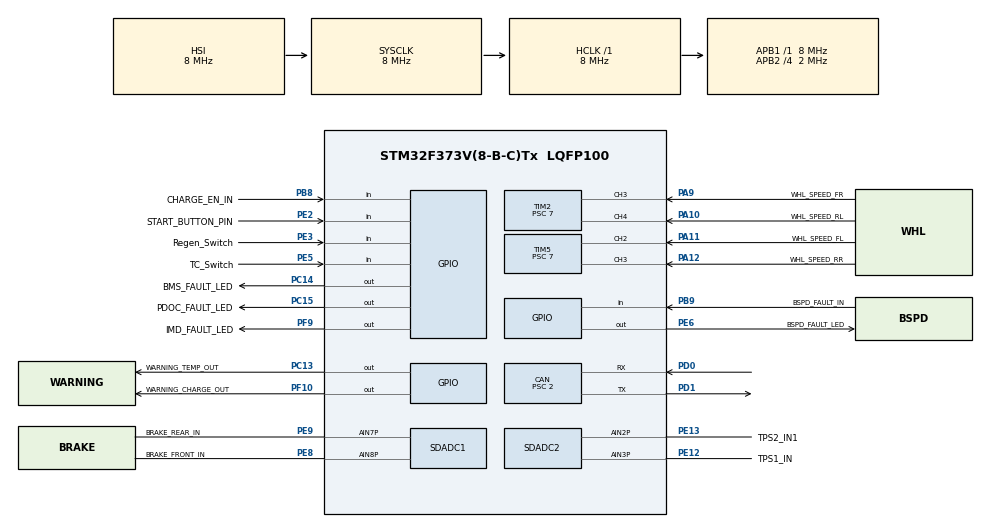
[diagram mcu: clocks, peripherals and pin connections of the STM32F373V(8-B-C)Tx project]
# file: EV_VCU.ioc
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CAN.BS1=CAN_BS1_2TQ
CAN.BS2=CAN_BS2_1TQ
CAN.CalculateBaudRate=1000000
CAN.CalculateTimeBit=1000
CAN.CalculateTimeQuantum=250.0
CAN.Prescaler=2
Mcu.Family=STM32F3
Mcu.Name=STM32F373V(8-B-C)Tx
Mcu.Package=LQFP100
NVIC.CAN_RX0_IRQn=true\:0\:0\:false\:false\:true\:true\:true\:true
NVIC.PriorityGroup=NVIC_PRIORITYGROUP_4
NVIC.TIM2_IRQn=true\:0\:0\:false\:false\:true\:true\:true\:true
NVIC.TIM3_IRQn=true\:0\:0\:false\:false\:true\:true\:true\:true
NVIC.TIM4_IRQn=true\:0\:0\:false\:false\:true\:true\:true\:true
NVIC.TIM5_IRQn=true\:0\:0\:false\:false\:true\:true\:true\:true
NVIC.TIM6_DAC1_IRQn=true\:0\:0\:false\:false\:true\:true\:true\:true
NVIC.TIM7_IRQn=true\:0\:0\:false\:false\:true\:true\:true\:true
PA10.GPIO_Label=WHL_SPEED_RL
PA10.Signal=S_TIM2_CH4
PA11.GPIO_Label=WHL_SPEED_FL
PA11.Signal=S_TIM5_CH2
PA12.GPIO_Label=WHL_SPEED_RR
PA12.Signal=S_TIM5_CH3
PA13.Mode=Trace_Asynchronous_SW
PA13.Signal=SYS_JTMS-SWDIO
PA14.Mode=Trace_Asynchronous_SW
PA14.Signal=SYS_JTCK-SWCLK
PA9.GPIO_Label=WHL_SPEED_FR
PA9.Signal=S_TIM2_CH3
PB3.Mode=Trace_Asynchronous_SW
PB3.Signal=SYS_JTDO-TRACESWO
PB8.GPIO_Label=CHARGE_EN_IN
PB8.Signal=GPIO_Input
PB9.GPIO_Label=BSPD_FAULT_IN
PB9.Signal=GPIO_Input
PC13.GPIO_Label=WARNING_TEMP_OUT
PC13.Signal=GPIO_Output
PC14-OSC32_IN.GPIO_Label=BMS_FAULT_LED
PC14-OSC32_IN.Signal=GPIO_Output
PC15-OSC32_OUT.GPIO_Label=PDOC_FAULT_LED
PC15-OSC32_OUT.Signal=GPIO_Output
PD0.GPIO_PuPd=GPIO_PULLUP
PD0.Mode=CAN_Activate
PD0.Signal=CAN_RX
PD1.Mode=CAN_Activate
PD1.Signal=CAN_TX
PE12.GPIO_Label=TPS1_IN
PE12.Mode=IN3-Single-Ended zero reference
PE12.Signal=SDADC2_AIN3P
PE13.GPIO_Label=TPS2_IN1
PE13.Mode=IN2-Single-Ended zero reference
PE13.Signal=SDADC2_AIN2P
PE2.GPIO_Label=START_BUTTON_PIN
PE2.Signal=GPIO_Input
PE3.GPIO_Label=Regen_Switch
PE3.Signal=GPIO_Input
PE5.GPIO_Label=TC_Switch 
PE5.Signal=GPIO_Input
PE6.GPIO_Label=BSPD_FAULT_LED
PE6.Signal=GPIO_Output
PE8.GPIO_Label=BRAKE_FRONT_IN
PE8.Mode=IN8-Single-Ended zero reference
PE8.Signal=SDADC1_AIN8P
PE9.GPIO_Label=BRAKE_REAR_IN
PE9.Mode=IN7-Single-Ended zero reference
PE9.Signal=SDADC1_AIN7P
PF0-OSC_IN.Mode=HSE-External-Oscillator
PF0-OSC_IN.Signal=RCC_OSC_IN
PF1-OSC_OUT.Mode=HSE-External-Oscillator
PF1-OSC_OUT.Signal=RCC_OSC_OUT
PF10.GPIO_Label=WARNING_CHARGE_OUT
PF10.Signal=GPIO_Output
PF9.GPIO_Label=IMD_FAULT_LED
PF9.Signal=GPIO_Output
ProjectManager.HeapSize=0x200
ProjectManager.StackSize=0x400
ProjectManager.TargetToolchain=STM32CubeIDE
RCC.AHBFreq_Value=8000000
RCC.APB1Freq_Value=8000000
RCC.APB1TimFreq_Value=8000000
RCC.APB2CLKDivider=RCC_HCLK_DIV4
RCC.APB2Freq_Value=2000000
RCC.APB2TimFreq_Value=4000000
RCC.CortexFreq_Value=8000000
RCC.HCLKFreq_Value=8000000
RCC.HSE_VALUE=32000000
RCC.HSI_VALUE=8000000
RCC.LSE_VALUE=32768
RCC.PLLMUL=RCC_PLL_MUL9
RCC.SDADCPresc=RCC_SDADCSYSCLK_DIV8
RCC.SYSCLKFreq_VALUE=8000000
RCC.USBFreq_Value=36000000
SDADC1.Channel-0\#ChannelRegularConversion=SDADC_CHANNEL_2
SDADC1.ConfIndex-0\#ChannelRegularConversion=SDADC_CONF_INDEX_0
SDADC1.EnableInjectedConversion=ENABLE
SDADC1.EnableRegularconversion=DISABLE
SDADC1.InjNumberOfConversion=2
SDADC1.InjectedChannel-10\#ChannelInjectedConversion=SDADC_CHANNEL_8
SDADC1.InjectedChannel-9\#ChannelInjectedConversion=SDADC_CHANNEL_7
SDADC1.InjectedChannelsSelection=SDADC_CHANNEL_7|SDADC_CHANNEL_8
SDADC1.InjectedConfIndex-10\#ChannelInjectedConversion=SDADC_CONF_INDEX_0
SDADC1.InjectedConfIndex-9\#ChannelInjectedConversion=SDADC_CONF_INDEX_0
SDADC1.InjectedContinuousMode=SDADC_CONTINUOUS_CONV_OFF
SDADC1.InjectedRank-10\#ChannelInjectedConversion=2
SDADC1.InjectedRank-9\#ChannelInjectedConversion=1
SDADC1.InputMode0=SDADC_INPUT_MODE_SE_ZERO_REFERENCE
SDADC1.NbrOfConversionFlag=1
SDADC1.Rank-0\#ChannelRegularConversion=1
SDADC2.EnableInjectedConversion=ENABLE
SDADC2.InjNumberOfConversion=2
SDADC2.InjectedChannel-6\#ChannelInjectedConversion=SDADC_CHANNEL_3
SDADC2.InjectedChannel-7\#ChannelInjectedConversion=SDADC_CHANNEL_2
SDADC2.InjectedChannelsSelection=SDADC_CHANNEL_3|SDADC_CHANNEL_2
SDADC2.InjectedConfIndex-6\#ChannelInjectedConversion=SDADC_CONF_INDEX_0
SDADC2.InjectedConfIndex-7\#ChannelInjectedConversion=SDADC_CONF_INDEX_0
SDADC2.InjectedContinuousMode=SDADC_CONTINUOUS_CONV_OFF
SDADC2.InjectedRank-6\#ChannelInjectedConversion=1
SDADC2.InjectedRank-7\#ChannelInjectedConversion=2
SDADC2.InputMode0=SDADC_INPUT_MODE_SE_ZERO_REFERENCE
SDADC2.NbrOfConversionFlag=1
SH.S_TIM2_CH3.0=TIM2_CH3,Input_Capture3_from_TI3
SH.S_TIM2_CH4.0=TIM2_CH4,Input_Capture4_from_TI4
SH.S_TIM5_CH2.0=TIM5_CH2,Input_Capture2_from_TI2
SH.S_TIM5_CH3.0=TIM5_CH3,Input_Capture3_from_TI3
TIM2.Channel-Input_Capture3_from_TI3=TIM_CHANNEL_3
TIM2.Channel-Input_Capture4_from_TI4=TIM_CHANNEL_4
TIM2.ICPolarity_CH3=TIM_INPUTCHANNELPOLARITY_RISING
TIM2.Period=9999999
TIM2.Prescaler=7
TIM2.TIM_MasterOutputTrigger=TIM_TRGO_UPDATE
TIM3.Period=4999
TIM3.Prescaler=7
TIM4.AutoReloadPreload=TIM_AUTORELOAD_PRELOAD_DISABLE
TIM4.Period=24999
TIM4.Prescaler=7
TIM5.AutoReloadPreload=TIM_AUTORELOAD_PRELOAD_DISABLE
TIM5.Channel-Input_Capture2_from_TI2=TIM_CHANNEL_2
TIM5.Channel-Input_Capture3_from_TI3=TIM_CHANNEL_3
TIM5.Period=9999999
TIM5.Prescaler=7
TIM5.TIM_MasterOutputTrigger=TIM_TRGO_UPDATE
TIM6.AutoReloadPreload=TIM_AUTORELOAD_PRELOAD_DISABLE
TIM6.Period=33332
TIM6.Prescaler=7
TIM7.Period=9999
TIM7.Prescaler=799
TIM7.TIM_MasterOutputTrigger=TIM_TRGO_RESET
VP_SDADC1_CONF0.Mode=ConfigZero
VP_SDADC2_CONF0.Mode=ConfigZero
VP_TIM2_VS_ClockSourceINT.Mode=Internal
VP_TIM3_VS_ClockSourceINT.Mode=Internal
VP_TIM4_VS_ClockSourceINT.Mode=Internal
VP_TIM5_VS_ClockSourceINT.Mode=Internal
VP_TIM6_VS_ClockSourceINT.Mode=Enable_Timer
VP_TIM7_VS_ClockSourceINT.Mode=Enable_Timer
board=custom

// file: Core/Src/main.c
/* USER CODE BEGIN Header */
	/**
	  ******************************************************************************
	  * @file           : main.c
	  * @brief          : Main program body
	  ******************************************************************************
	  * @attention
	  *
	  * Copyright (c) 2025 STMicroelectronics.
	  * All rights reserved.
	  *
	  * This software is licensed under terms that can be found in the LICENSE file
	  * in the root directory of this software component.
	  * If no LICENSE file comes with this software, it is provided AS-IS.
	  *
	  ******************************************************************************
	  */
/* USER CODE END Header */
#include "main.h"

/* USER CODE BEGIN Includes */
	#include <stdint.h>
	#include <stdio.h>
	#include <math.h>
	#include <stdlib.h>
	#include <VCU_State.h>
	#include <VCU_Canbus.h>
	#include <VCU_ADC.h>
	#include <VCU_Timer.h>

/* USER CODE END Includes */

CAN_HandleTypeDef hcan;

SDADC_HandleTypeDef hsdadc1;
SDADC_HandleTypeDef hsdadc2;

TIM_HandleTypeDef htim2;
TIM_HandleTypeDef htim3;
TIM_HandleTypeDef htim4;
TIM_HandleTypeDef htim5;
TIM_HandleTypeDef htim6;
TIM_HandleTypeDef htim7;

/* USER CODE BEGIN PV */
#warning global variables created to live debug
	CarState carState = IDLE;
	Throttle throttle = {0};
	Torque torque = {0};
	Brake brake = {0};
	Wss wss = {0};
	AppsBrakeErrors apps_brake_errors = {0};

	CanbusRxData rxData = {0};

	AdcHandler hadc = {
		&hsdadc1,
		&hsdadc2,
		0,0,0,0,0

	};

	volatile uint8_t regen_sw = 0;
	volatile uint8_t tc_sw = 0;
	volatile uint8_t start_btn = 0;
	volatile uint8_t charge_en = 0;

	TimerHandler htimer = {
		&htim2,
		&htim3,
		&htim4,
		&htim5,
		&htim6,
		&htim7,
		0,0,0,0
	  };

	PowerLimiter powerLimiter = {
    .target_kw = POWER_TARGET_KW,
    .kp = POWER_KP,
    .ki = POWER_KI
	};

/* USER CODE END PV */

void SystemClock_Config(void);
static void MX_GPIO_Init(void);
static void MX_CAN_Init(void);
static void MX_TIM2_Init(void);
static void MX_SDADC1_Init(void);
static void MX_SDADC2_Init(void);
static void MX_TIM4_Init(void);
static void MX_TIM5_Init(void);
static void MX_TIM6_Init(void);
static void MX_TIM3_Init(void);
static void MX_TIM7_Init(void);

/* USER CODE BEGIN 0 */

	// For printouts - enable printf to SWO (ST-Link V3)
	int _write(int file, char *ptr, int len)
	{
	  // Send data to SWO (Serial Wire Output) via ITM
	  for (int i = 0; i < len; i++) {
		ITM_SendChar(ptr[i]);
	  }
	  return len;
	}

	// for the swv trace
	void ITM_SendWord(uint8_t port, uint32_t value) {
		if ((ITM->TCR & ITM_TCR_ITMENA_Msk) && (ITM->TER & (1UL << port))) {
			while (ITM->PORT[port].u32 == 0);
			ITM->PORT[port].u32 = value;
		}
	}

/* USER CODE END 0 */

int main(void)
{

  /* USER CODE BEGIN 1 */
  carState = IDLE;

  /* USER CODE END 1 */

  /* MCU Configuration--------------------------------------------------------*/

  /* Reset of all peripherals, Initializes the Flash interface and the Systick. */
  HAL_Init();

  /* Configure the system clock */
  SystemClock_Config();

  /* USER CODE BEGIN SysInit */
	  canInit(&rxData);
	  adcInit(&hadc);
  /* USER CODE END SysInit */

  /* Initialize all configured peripherals */
  MX_GPIO_Init();
  MX_CAN_Init();
  MX_TIM2_Init();
  MX_SDADC1_Init();
  MX_SDADC2_Init();
  MX_TIM4_Init();
  MX_TIM5_Init();
  MX_TIM6_Init();
  MX_TIM3_Init();
  MX_TIM7_Init();
  /* USER CODE BEGIN 2 */
	  // Initialize SWO for debug output
	  // Enable TRCENA bit in Debug Exception and Monitor Control Register
	  CoreDebug->DEMCR |= CoreDebug_DEMCR_TRCENA_Msk;
	  // Enable stimulus port 0 in ITM Trace Enable Register
	  ITM->TER = 0x1;
	  // Configure ITM Control Register
	  ITM->TCR = 0x1000D;

	  // Sensors
	  /*Throttle throttle = {0};
	  Brake brake = {0};
	  Wss wss = {0};
	  AppsBrakeErrors apps_brake_errors = {0};*/

	  // CANBUS Receive Messages
	  //CanbusRxData rxData = {0};
	  // Init Canbus Messages
	  canInit(&rxData);

	  // ADC Config
	  /*AdcHandler hadc = {
		&hsdadc1,
		&hsdadc2,
		0,0,0,0,0,0
	  };*/

	  adcInit(&hadc);

	  // Timer Config
	  /*TimerHandler htimer = {
		&htim2,
		&htim3,
		&htim4,
		&htim5,
		&htim6,
		&htim7,
		0,0,0,0
	  };*/

	  timerInit(&htimer);
	  timerStart();

	  // Arbitrary delay
	  HAL_Delay(300);

	  for (int i = 0; i < 20; i++) {			//added to fix the brake range error on startup, lets 4 sample ADC filter settle before range check
		  readADC(&hadc);
		  HAL_Delay(5);
	  }
	  htimer.tim3_flag = 0;
	  htimer.tim4_flag = 0;
	  htimer.tim6_flag = 0;

	  printf("FINISHED INITIALISATION\n");
  /* USER CODE END 2 */

  /* Infinite loop */
  /* USER CODE BEGIN WHILE */

	  // Track Canbus Tx Messages (Used to Stagger Transmissions)
	  uint32_t critical_counter = 0;
	  const uint32_t total_critical = 2;
	  uint32_t non_critical_counter = 0;
	  const uint32_t total_non_critical = 3;

	  while (1)
	  {
    /* USER CODE END WHILE */

    /* USER CODE BEGIN 3 */
		switch (carState)
		{
		  case IDLE:
			updateFaultLEDs(&rxData.faults);

			if (rxData.pdm.precharged) {
			  carState = PRECHARGED;
			  printf("\tNext State: PRECHARGED\n");
			}
			break;

		  case PRECHARGED:
			if (checkFault(&rxData.faults)) {
				  carState = FAULT;
				  printf("\tNext State: FAULT\n");
			}
			updateFaultLEDs(&rxData.faults);

			// Poll Start Button
			if (start_btn && brake.avg > BRAKE_PRESSURE_START_THRESHOLD){
				sendStartSw(&hcan, NOT_CRITICAL);
			  // NextState = RTD
			  carState = RTD;
			  printf("\tNext State: RTD\n");
			}
			break;

		  case RTD:
			// Send Torque to MC
			if (checkFault(&rxData.faults)) {
				  carState = FAULT;
				  printf("\tNext State: FAULT\n");
			}
			break;

		  case FAULT:
			updateFaultLEDs(&rxData.faults);

			break;

		  default:
			  carState = FAULT;
			  break;
		}

		// Timed Operations

		/*
		 *
		 * ----- READ ADC -----
		 *
		 *  f=200Hz
		 */
		if (htimer.tim3_flag) {
			readADC(&hadc);

			updateFaultLEDs(&rxData.faults);
			updateWarningLEDs(&rxData.orion);

			htimer.tim3_flag = 0; // reset

			regen_sw = (HAL_GPIO_ReadPin(Regen_Switch_GPIO_Port, Regen_Switch_Pin) == GPIO_PIN_SET);
			tc_sw    = (HAL_GPIO_ReadPin(TC_Switch_GPIO_Port,    TC_Switch_Pin)    == GPIO_PIN_SET);
			charge_en = (HAL_GPIO_ReadPin(CHARGE_EN_IN_GPIO_Port, CHARGE_EN_IN_Pin) == GPIO_PIN_RESET);   // grounded = enabled
# warning added start button to live debug
			start_btn = (HAL_GPIO_ReadPin(START_BUTTON_PIN_GPIO_Port, START_BUTTON_PIN_Pin) == GPIO_PIN_SET);		}

		/*
		 *
		 * ----- CRITICAL MESSAGES -----
		 *
		 *  f=40Hz
		 *  Stagger message transmission so each message is 40Hz / 2 = 20Hz
		*/
		if (htimer.tim4_flag) {
			// Get Throttle Position from ADC Measurement

			// Update Brake and Throttle Values
			updateThrottlePosition(&hadc,&throttle);
			updateBrakePressure(&hadc,&brake);
			checkAppsBrakePlausibilityError(&apps_brake_errors, &throttle, &brake);

			// --- ALTERNATE MESSAGE TRANSMISSION TO AVOID MAILBOX OVERFLOW --- //

			// Send Throttle
			if(critical_counter % total_critical == 0) {

				OrionData battery_sample = {0};
				PM150_Data motor_sample = {0};

				uint32_t interrupt_state = __get_PRIMASK();
				__disable_irq();

				battery_sample.pack_current_a = rxData.orion.pack_current_a;
				battery_sample.pack_instant_voltage_v =rxData.orion.pack_instant_voltage_v;
				battery_sample.power_received_ms = rxData.orion.power_received_ms;
				battery_sample.power_sequence = rxData.orion.power_sequence;
				battery_sample.power_received = rxData.orion.power_received;
				motor_sample.mc_rpm = rxData.pm150.mc_rpm;

				__set_PRIMASK(interrupt_state);

				uint8_t drive_allowed = (carState == RTD) && !apps_brake_errors.appsBrakePlausibility && (brake.avg <= BRAKE_PRESSURE_APPS_THRESHOLD);

				updateTorque(&torque, &throttle, &motor_sample, &battery_sample, &powerLimiter, carState, drive_allowed, HAL_GetTick());

				sendTorqueCommand(&hcan, &torque, apps_brake_errors.appsBrakePlausibility, carState, CRITICAL);
				sendTorqueControlLog(&hcan, &torque, &powerLimiter, NOT_CRITICAL);
			}

			// Send Brake
			else if(critical_counter % total_critical == 1) {
				sendBrakePressure(&hcan, &brake, carState, CRITICAL);
			}

			critical_counter++;
			htimer.tim4_flag = 0; // reset
		}

		/*
		 * ----- NON-CRITICAL MESSAGES -----
		 *
		 *  f=30Hz
		 *  Stagger message transmission so each message is 30Hz / 3 = 10Hz
		 */
		if (htimer.tim6_flag) {

			// --- ALTERNATE MESSAGE TRANSMISSION TO AVOID MAILBOX OVERFLOW --- //

			if(non_critical_counter % total_non_critical == 0) {
				updateWSS(&wss);
				sendSensorData(&hcan, &wss, NOT_CRITICAL);
			}

			else if(non_critical_counter % total_non_critical == 1) {
				sendState(&hcan, &apps_brake_errors, carState, NOT_CRITICAL);
			}

			else if (non_critical_counter % total_non_critical == 2) {
				sendThrottlePosition(&hcan, &throttle, NOT_CRITICAL);
			}

			non_critical_counter++;
			htimer.tim6_flag = 0; // reset
		}

		// Non-Critical Messages - 1Hz
		if (htimer.tim7_flag) {

	//    	if (counter++ % 2 == 0) {
	//    		readADC_test(&hsdadc1, &hsdadc2);
	//    	}

	//    	void print_ADC(void);

			htimer.tim7_flag = 0;
		}

		//--- END CAN TEST ---///
	  }
  /* USER CODE END 3 */
}

void SystemClock_Config(void)
{
  RCC_OscInitTypeDef RCC_OscInitStruct = {0};
  RCC_ClkInitTypeDef RCC_ClkInitStruct = {0};
  RCC_PeriphCLKInitTypeDef PeriphClkInit = {0};

  /** Initializes the RCC Oscillators according to the specified parameters
  * in the RCC_OscInitTypeDef structure.
  */
  RCC_OscInitStruct.OscillatorType = RCC_OSCILLATORTYPE_HSI;
  RCC_OscInitStruct.HSIState = RCC_HSI_ON;
  RCC_OscInitStruct.HSICalibrationValue = RCC_HSICALIBRATION_DEFAULT;
  RCC_OscInitStruct.PLL.PLLState = RCC_PLL_NONE;
  if (HAL_RCC_OscConfig(&RCC_OscInitStruct) != HAL_OK)
  {
    Error_Handler();
  }

  /** Initializes the CPU, AHB and APB buses clocks
  */
  RCC_ClkInitStruct.ClockType = RCC_CLOCKTYPE_HCLK|RCC_CLOCKTYPE_SYSCLK
                              |RCC_CLOCKTYPE_PCLK1|RCC_CLOCKTYPE_PCLK2;
  RCC_ClkInitStruct.SYSCLKSource = RCC_SYSCLKSOURCE_HSI;
  RCC_ClkInitStruct.AHBCLKDivider = RCC_SYSCLK_DIV1;
  RCC_ClkInitStruct.APB1CLKDivider = RCC_HCLK_DIV1;
  RCC_ClkInitStruct.APB2CLKDivider = RCC_HCLK_DIV4;

  if (HAL_RCC_ClockConfig(&RCC_ClkInitStruct, FLASH_LATENCY_0) != HAL_OK)
  {
    Error_Handler();
  }
  PeriphClkInit.PeriphClockSelection = RCC_PERIPHCLK_SDADC;
  PeriphClkInit.SdadcClockSelection = RCC_SDADCSYSCLK_DIV8;
  if (HAL_RCCEx_PeriphCLKConfig(&PeriphClkInit) != HAL_OK)
  {
    Error_Handler();
  }
  HAL_PWREx_EnableSDADC(PWR_SDADC_ANALOG1);
  HAL_PWREx_EnableSDADC(PWR_SDADC_ANALOG2);
}

static void MX_CAN_Init(void)
{

  /* USER CODE BEGIN CAN_Init 0 */
	  printf("CAN INIT STARTTING\n");

  /* USER CODE END CAN_Init 0 */

  hcan.Instance = CAN;
  hcan.Init.Prescaler = 2;
  hcan.Init.Mode = CAN_MODE_NORMAL;
  hcan.Init.SyncJumpWidth = CAN_SJW_1TQ;
  hcan.Init.TimeSeg1 = CAN_BS1_2TQ;
  hcan.Init.TimeSeg2 = CAN_BS2_1TQ;
  hcan.Init.TimeTriggeredMode = DISABLE;
  hcan.Init.AutoBusOff = DISABLE;
  hcan.Init.AutoWakeUp = DISABLE;
  hcan.Init.AutoRetransmission = DISABLE;
  hcan.Init.ReceiveFifoLocked = DISABLE;
  hcan.Init.TransmitFifoPriority = DISABLE;
  if (HAL_CAN_Init(&hcan) != HAL_OK)
  {
    Error_Handler();
  }
  /* USER CODE BEGIN CAN_Init 2 */
	  // Configure the CAN filter
	//  CAN_FilterTypeDef sFilterConfig;
	//  uint32_t id1 = (CANID_PDM_0 << 21);
	//  uint32_t id2 = (CANID_PDM_2 << 21);
	//  sFilterConfig.FilterBank = 0;
	//  sFilterConfig.FilterMode = CAN_FILTERMODE_IDMASK;
	//  sFilterConfig.FilterScale = CAN_FILTERSCALE_32BIT;
	//  sFilterConfig.FilterIdHigh = (id1 >> 16);
	//  sFilterConfig.FilterIdLow = (id1 & 0xFFFF);
	//  sFilterConfig.FilterMaskIdHigh = (id2 >> 16);
	//  sFilterConfig.FilterMaskIdLow = (id2 & 0xFFFF);
	//  sFilterConfig.FilterFIFOAssignment = CAN_FILTER_FIFO0;
	//  sFilterConfig.FilterActivation = ENABLE;
	//  sFilterConfig.SlaveStartFilterBank = 0;
	//
	//  if (HAL_CAN_ConfigFilter(&hcan, &sFilterConfig) != HAL_OK) {
	//	  printf("HAL CAN CONFIG FILTER FAILED\n");
	//      Error_Handler();
	//  }

	  /* USER CODE BEGIN CAN_Init 2 */

	  // Whitelist only these 4 IDs (standard 11-bit)

	  uint16_t canIdList[CAN_ID_LIST_LENGTH] = {CAN_ID_LIST};
	  configFilters(&hcan, canIdList, CAN_ID_LIST_LENGTH);

	  // Start CAN and enable RX interrupt (as you already do)
	  if (HAL_CAN_Start(&hcan) != HAL_OK) {
		  printf("CAN START FAILED\n");
		  Error_Handler();
	  }
	  if (HAL_CAN_ActivateNotification(
			  &hcan,
			  CAN_IT_RX_FIFO0_MSG_PENDING      |
			  CAN_IT_ERROR_WARNING             |
			  CAN_IT_ERROR_PASSIVE             |
			  CAN_IT_BUSOFF                    |
			  CAN_IT_LAST_ERROR_CODE           |
			  CAN_IT_ERROR)                    != HAL_OK) {
		  printf("CAN ACTIVATE (error IRQs) FAILED\n");
		  Error_Handler();
	  }
  /* USER CODE END CAN_Init 2 */

}

static void MX_SDADC1_Init(void)
{

  SDADC_ConfParamTypeDef ConfParamStruct = {0};

  /** Configure the SDADC low power mode, fast conversion mode,
  slow clock mode and SDADC1 reference voltage
  */
  hsdadc1.Instance = SDADC1;
  hsdadc1.Init.IdleLowPowerMode = SDADC_LOWPOWER_NONE;
  hsdadc1.Init.FastConversionMode = SDADC_FAST_CONV_DISABLE;
  hsdadc1.Init.SlowClockMode = SDADC_SLOW_CLOCK_DISABLE;
  hsdadc1.Init.ReferenceVoltage = SDADC_VREF_EXT;
  hsdadc1.InjectedTrigger = SDADC_SOFTWARE_TRIGGER;
  if (HAL_SDADC_Init(&hsdadc1) != HAL_OK)
  {
    Error_Handler();
  }

  /** Configure the Injected Mode
  */
  if (HAL_SDADC_SelectInjectedDelay(&hsdadc1, SDADC_INJECTED_DELAY_NONE) != HAL_OK)
  {
    Error_Handler();
  }
  if (HAL_SDADC_SelectInjectedTrigger(&hsdadc1, SDADC_SOFTWARE_TRIGGER) != HAL_OK)
  {
    Error_Handler();
  }
  if (HAL_SDADC_InjectedConfigChannel(&hsdadc1, SDADC_CHANNEL_7|SDADC_CHANNEL_8, SDADC_CONTINUOUS_CONV_OFF) != HAL_OK)
  {
    Error_Handler();
  }

  /** Set parameters for SDADC configuration 0 Register
  */
  ConfParamStruct.InputMode = SDADC_INPUT_MODE_SE_ZERO_REFERENCE;
  ConfParamStruct.Gain = SDADC_GAIN_1;
  ConfParamStruct.CommonMode = SDADC_COMMON_MODE_VSSA;
  ConfParamStruct.Offset = 0;
  if (HAL_SDADC_PrepareChannelConfig(&hsdadc1, SDADC_CONF_INDEX_0, &ConfParamStruct) != HAL_OK)
  {
    Error_Handler();
  }

  /** Configure the Regular Channel
  */
  if (HAL_SDADC_AssociateChannelConfig(&hsdadc1, SDADC_CHANNEL_2, SDADC_CONF_INDEX_0) != HAL_OK)
  {
    Error_Handler();
  }

  /** Configure the Injected Channel
  */
  if (HAL_SDADC_AssociateChannelConfig(&hsdadc1, SDADC_CHANNEL_7, SDADC_CONF_INDEX_0) != HAL_OK)
  {
    Error_Handler();
  }

  /** Configure the Injected Channel
  */
  if (HAL_SDADC_AssociateChannelConfig(&hsdadc1, SDADC_CHANNEL_8, SDADC_CONF_INDEX_0) != HAL_OK)
  {
    Error_Handler();
  }
  /* USER CODE BEGIN SDADC1_Init 2 */
	  if (HAL_SDADC_CalibrationStart(&hsdadc1, SDADC_CALIBRATION_SEQ_1) != HAL_OK)
	  {
		/* An error occurs during the starting phase of the calibration */
		  Error_Handler();
	  }

	  /* Pool for the end of calibration */
	  if (HAL_SDADC_PollForCalibEvent(&hsdadc1, 1000) != HAL_OK)
	  {
		/* An error occurs while waiting for the end of the calibration */
		  Error_Handler();
	  }
  /* USER CODE END SDADC1_Init 2 */

}

static void MX_SDADC2_Init(void)
{

  SDADC_ConfParamTypeDef ConfParamStruct = {0};

  /** Configure the SDADC low power mode, fast conversion mode,
  slow clock mode and SDADC1 reference voltage
  */
  hsdadc2.Instance = SDADC2;
  hsdadc2.Init.IdleLowPowerMode = SDADC_LOWPOWER_NONE;
  hsdadc2.Init.FastConversionMode = SDADC_FAST_CONV_DISABLE;
  hsdadc2.Init.SlowClockMode = SDADC_SLOW_CLOCK_DISABLE;
  hsdadc2.Init.ReferenceVoltage = SDADC_VREF_EXT;
  hsdadc2.InjectedTrigger = SDADC_SOFTWARE_TRIGGER;
  if (HAL_SDADC_Init(&hsdadc2) != HAL_OK)
  {
    Error_Handler();
  }

  /** Configure the Injected Mode
  */
  if (HAL_SDADC_SelectInjectedDelay(&hsdadc2, SDADC_INJECTED_DELAY_NONE) != HAL_OK)
  {
    Error_Handler();
  }
  if (HAL_SDADC_SelectInjectedTrigger(&hsdadc2, SDADC_SOFTWARE_TRIGGER) != HAL_OK)
  {
    Error_Handler();
  }
  if (HAL_SDADC_InjectedConfigChannel(&hsdadc2, SDADC_CHANNEL_3|SDADC_CHANNEL_2, SDADC_CONTINUOUS_CONV_OFF) != HAL_OK)
  {
    Error_Handler();
  }

  /** Set parameters for SDADC configuration 0 Register
  */
  ConfParamStruct.InputMode = SDADC_INPUT_MODE_SE_ZERO_REFERENCE;
  ConfParamStruct.Gain = SDADC_GAIN_1;
  ConfParamStruct.CommonMode = SDADC_COMMON_MODE_VSSA;
  ConfParamStruct.Offset = 0;
  if (HAL_SDADC_PrepareChannelConfig(&hsdadc2, SDADC_CONF_INDEX_0, &ConfParamStruct) != HAL_OK)
  {
    Error_Handler();
  }

  /** Configure the Injected Channel
  */
  if (HAL_SDADC_AssociateChannelConfig(&hsdadc2, SDADC_CHANNEL_3, SDADC_CONF_INDEX_0) != HAL_OK)
  {
    Error_Handler();
  }

  /** Configure the Injected Channel
  */
  if (HAL_SDADC_AssociateChannelConfig(&hsdadc2, SDADC_CHANNEL_2, SDADC_CONF_INDEX_0) != HAL_OK)
  {
    Error_Handler();
  }
  /* USER CODE BEGIN SDADC2_Init 2 */
	  if (HAL_SDADC_CalibrationStart(&hsdadc2, SDADC_CALIBRATION_SEQ_1) != HAL_OK)
	  {
		/* An error occurs during the starting phase of the calibration */
		  Error_Handler();
	  }

	  /* Pool for the end of calibration */
	  if (HAL_SDADC_PollForCalibEvent(&hsdadc2, 1000) != HAL_OK)
	  {
		/* An error occurs while waiting for the end of the calibration */
		  Error_Handler();
	  }
  /* USER CODE END SDADC2_Init 2 */

}

static void MX_TIM2_Init(void)
{

  TIM_ClockConfigTypeDef sClockSourceConfig = {0};
  TIM_MasterConfigTypeDef sMasterConfig = {0};
  TIM_IC_InitTypeDef sConfigIC = {0};

  htim2.Instance = TIM2;
  htim2.Init.Prescaler = 7;
  htim2.Init.CounterMode = TIM_COUNTERMODE_UP;
  htim2.Init.Period = 9999999;
  htim2.Init.ClockDivision = TIM_CLOCKDIVISION_DIV1;
  htim2.Init.AutoReloadPreload = TIM_AUTORELOAD_PRELOAD_DISABLE;
  if (HAL_TIM_Base_Init(&htim2) != HAL_OK)
  {
    Error_Handler();
  }
  sClockSourceConfig.ClockSource = TIM_CLOCKSOURCE_INTERNAL;
  if (HAL_TIM_ConfigClockSource(&htim2, &sClockSourceConfig) != HAL_OK)
  {
    Error_Handler();
  }
  if (HAL_TIM_IC_Init(&htim2) != HAL_OK)
  {
    Error_Handler();
  }
  sMasterConfig.MasterOutputTrigger = TIM_TRGO_UPDATE;
  sMasterConfig.MasterSlaveMode = TIM_MASTERSLAVEMODE_DISABLE;
  if (HAL_TIMEx_MasterConfigSynchronization(&htim2, &sMasterConfig) != HAL_OK)
  {
    Error_Handler();
  }
  sConfigIC.ICPolarity = TIM_INPUTCHANNELPOLARITY_RISING;
  sConfigIC.ICSelection = TIM_ICSELECTION_DIRECTTI;
  sConfigIC.ICPrescaler = TIM_ICPSC_DIV1;
  sConfigIC.ICFilter = 0;
  if (HAL_TIM_IC_ConfigChannel(&htim2, &sConfigIC, TIM_CHANNEL_3) != HAL_OK)
  {
    Error_Handler();
  }
  if (HAL_TIM_IC_ConfigChannel(&htim2, &sConfigIC, TIM_CHANNEL_4) != HAL_OK)
  {
    Error_Handler();
  }

}

static void MX_TIM3_Init(void)
{

  TIM_ClockConfigTypeDef sClockSourceConfig = {0};
  TIM_MasterConfigTypeDef sMasterConfig = {0};

  htim3.Instance = TIM3;
  htim3.Init.Prescaler = 7;
  htim3.Init.CounterMode = TIM_COUNTERMODE_UP;
  htim3.Init.Period = 4999;
  htim3.Init.ClockDivision = TIM_CLOCKDIVISION_DIV1;
  htim3.Init.AutoReloadPreload = TIM_AUTORELOAD_PRELOAD_DISABLE;
  if (HAL_TIM_Base_Init(&htim3) != HAL_OK)
  {
    Error_Handler();
  }
  sClockSourceConfig.ClockSource = TIM_CLOCKSOURCE_INTERNAL;
  if (HAL_TIM_ConfigClockSource(&htim3, &sClockSourceConfig) != HAL_OK)
  {
    Error_Handler();
  }
  sMasterConfig.MasterOutputTrigger = TIM_TRGO_RESET;
  sMasterConfig.MasterSlaveMode = TIM_MASTERSLAVEMODE_DISABLE;
  if (HAL_TIMEx_MasterConfigSynchronization(&htim3, &sMasterConfig) != HAL_OK)
  {
    Error_Handler();
  }

}

static void MX_TIM4_Init(void)
{

  TIM_ClockConfigTypeDef sClockSourceConfig = {0};
  TIM_MasterConfigTypeDef sMasterConfig = {0};

  htim4.Instance = TIM4;
  htim4.Init.Prescaler = 7;
  htim4.Init.CounterMode = TIM_COUNTERMODE_UP;
  htim4.Init.Period = 24999;
  htim4.Init.ClockDivision = TIM_CLOCKDIVISION_DIV1;
  htim4.Init.AutoReloadPreload = TIM_AUTORELOAD_PRELOAD_DISABLE;
  if (HAL_TIM_Base_Init(&htim4) != HAL_OK)
  {
    Error_Handler();
  }
  sClockSourceConfig.ClockSource = TIM_CLOCKSOURCE_INTERNAL;
  if (HAL_TIM_ConfigClockSource(&htim4, &sClockSourceConfig) != HAL_OK)
  {
    Error_Handler();
  }
  sMasterConfig.MasterOutputTrigger = TIM_TRGO_RESET;
  sMasterConfig.MasterSlaveMode = TIM_MASTERSLAVEMODE_DISABLE;
  if (HAL_TIMEx_MasterConfigSynchronization(&htim4, &sMasterConfig) != HAL_OK)
  {
    Error_Handler();
  }

}

static void MX_TIM5_Init(void)
{

  TIM_ClockConfigTypeDef sClockSourceConfig = {0};
  TIM_MasterConfigTypeDef sMasterConfig = {0};
  TIM_IC_InitTypeDef sConfigIC = {0};

  htim5.Instance = TIM5;
  htim5.Init.Prescaler = 7;
  htim5.Init.CounterMode = TIM_COUNTERMODE_UP;
  htim5.Init.Period = 9999999;
  htim5.Init.ClockDivision = TIM_CLOCKDIVISION_DIV1;
  htim5.Init.AutoReloadPreload = TIM_AUTORELOAD_PRELOAD_DISABLE;
  if (HAL_TIM_Base_Init(&htim5) != HAL_OK)
  {
    Error_Handler();
  }
  sClockSourceConfig.ClockSource = TIM_CLOCKSOURCE_INTERNAL;
  if (HAL_TIM_ConfigClockSource(&htim5, &sClockSourceConfig) != HAL_OK)
  {
    Error_Handler();
  }
  if (HAL_TIM_IC_Init(&htim5) != HAL_OK)
  {
    Error_Handler();
  }
  sMasterConfig.MasterOutputTrigger = TIM_TRGO_UPDATE;
  sMasterConfig.MasterSlaveMode = TIM_MASTERSLAVEMODE_DISABLE;
  if (HAL_TIMEx_MasterConfigSynchronization(&htim5, &sMasterConfig) != HAL_OK)
  {
    Error_Handler();
  }
  sConfigIC.ICPolarity = TIM_INPUTCHANNELPOLARITY_RISING;
  sConfigIC.ICSelection = TIM_ICSELECTION_DIRECTTI;
  sConfigIC.ICPrescaler = TIM_ICPSC_DIV1;
  sConfigIC.ICFilter = 0;
  if (HAL_TIM_IC_ConfigChannel(&htim5, &sConfigIC, TIM_CHANNEL_2) != HAL_OK)
  {
    Error_Handler();
  }
  if (HAL_TIM_IC_ConfigChannel(&htim5, &sConfigIC, TIM_CHANNEL_3) != HAL_OK)
  {
    Error_Handler();
  }

}

static void MX_TIM6_Init(void)
{

  TIM_MasterConfigTypeDef sMasterConfig = {0};

  htim6.Instance = TIM6;
  htim6.Init.Prescaler = 7;
  htim6.Init.CounterMode = TIM_COUNTERMODE_UP;
  htim6.Init.Period = 33332;
  htim6.Init.AutoReloadPreload = TIM_AUTORELOAD_PRELOAD_DISABLE;
  if (HAL_TIM_Base_Init(&htim6) != HAL_OK)
  {
    Error_Handler();
  }
  sMasterConfig.MasterOutputTrigger = TIM_TRGO_RESET;
  sMasterConfig.MasterSlaveMode = TIM_MASTERSLAVEMODE_DISABLE;
  if (HAL_TIMEx_MasterConfigSynchronization(&htim6, &sMasterConfig) != HAL_OK)
  {
    Error_Handler();
  }

}

static void MX_TIM7_Init(void)
{

  TIM_MasterConfigTypeDef sMasterConfig = {0};

  htim7.Instance = TIM7;
  htim7.Init.Prescaler = 799;
  htim7.Init.CounterMode = TIM_COUNTERMODE_UP;
  htim7.Init.Period = 9999;
  htim7.Init.AutoReloadPreload = TIM_AUTORELOAD_PRELOAD_DISABLE;
  if (HAL_TIM_Base_Init(&htim7) != HAL_OK)
  {
    Error_Handler();
  }
  sMasterConfig.MasterOutputTrigger = TIM_TRGO_RESET;
  sMasterConfig.MasterSlaveMode = TIM_MASTERSLAVEMODE_DISABLE;
  if (HAL_TIMEx_MasterConfigSynchronization(&htim7, &sMasterConfig) != HAL_OK)
  {
    Error_Handler();
  }

}

static void MX_GPIO_Init(void)
{
  GPIO_InitTypeDef GPIO_InitStruct = {0};

  /* GPIO Ports Clock Enable */
  __HAL_RCC_GPIOE_CLK_ENABLE();
  __HAL_RCC_GPIOC_CLK_ENABLE();
  __HAL_RCC_GPIOF_CLK_ENABLE();
  __HAL_RCC_GPIOA_CLK_ENABLE();
  __HAL_RCC_GPIOD_CLK_ENABLE();
  __HAL_RCC_GPIOB_CLK_ENABLE();

  /*Configure GPIO pin Output Level */
  HAL_GPIO_WritePin(BSPD_FAULT_LED_GPIO_Port, BSPD_FAULT_LED_Pin, GPIO_PIN_RESET);

  /*Configure GPIO pin Output Level */
  HAL_GPIO_WritePin(GPIOC, WARNING_TEMP_OUT_Pin|BMS_FAULT_LED_Pin|PDOC_FAULT_LED_Pin, GPIO_PIN_RESET);

  /*Configure GPIO pin Output Level */
  HAL_GPIO_WritePin(GPIOF, IMD_FAULT_LED_Pin|WARNING_CHARGE_OUT_Pin, GPIO_PIN_RESET);

  /*Configure GPIO pins : START_BUTTON_PIN_Pin Regen_Switch_Pin TC_Switch_Pin */
  GPIO_InitStruct.Pin = START_BUTTON_PIN_Pin|Regen_Switch_Pin|TC_Switch_Pin;
  GPIO_InitStruct.Mode = GPIO_MODE_INPUT;
  GPIO_InitStruct.Pull = GPIO_NOPULL;
  HAL_GPIO_Init(GPIOE, &GPIO_InitStruct);

  /*Configure GPIO pin : BSPD_FAULT_LED_Pin */
  GPIO_InitStruct.Pin = BSPD_FAULT_LED_Pin;
  GPIO_InitStruct.Mode = GPIO_MODE_OUTPUT_PP;
  GPIO_InitStruct.Pull = GPIO_NOPULL;
  GPIO_InitStruct.Speed = GPIO_SPEED_FREQ_LOW;
  HAL_GPIO_Init(BSPD_FAULT_LED_GPIO_Port, &GPIO_InitStruct);

  /*Configure GPIO pins : WARNING_TEMP_OUT_Pin BMS_FAULT_LED_Pin PDOC_FAULT_LED_Pin */
  GPIO_InitStruct.Pin = WARNING_TEMP_OUT_Pin|BMS_FAULT_LED_Pin|PDOC_FAULT_LED_Pin;
  GPIO_InitStruct.Mode = GPIO_MODE_OUTPUT_PP;
  GPIO_InitStruct.Pull = GPIO_NOPULL;
  GPIO_InitStruct.Speed = GPIO_SPEED_FREQ_LOW;
  HAL_GPIO_Init(GPIOC, &GPIO_InitStruct);

  /*Configure GPIO pins : IMD_FAULT_LED_Pin WARNING_CHARGE_OUT_Pin */
  GPIO_InitStruct.Pin = IMD_FAULT_LED_Pin|WARNING_CHARGE_OUT_Pin;
  GPIO_InitStruct.Mode = GPIO_MODE_OUTPUT_PP;
  GPIO_InitStruct.Pull = GPIO_NOPULL;
  GPIO_InitStruct.Speed = GPIO_SPEED_FREQ_LOW;
  HAL_GPIO_Init(GPIOF, &GPIO_InitStruct);

  /*Configure GPIO pins : CHARGE_EN_IN_Pin BSPD_FAULT_IN_Pin */
  GPIO_InitStruct.Pin = CHARGE_EN_IN_Pin|BSPD_FAULT_IN_Pin;
  GPIO_InitStruct.Mode = GPIO_MODE_INPUT;
  GPIO_InitStruct.Pull = GPIO_NOPULL;
  HAL_GPIO_Init(GPIOB, &GPIO_InitStruct);

}

void Error_Handler(void)
{
	  __disable_irq();
	  while (1)
	  {
	  }
}
